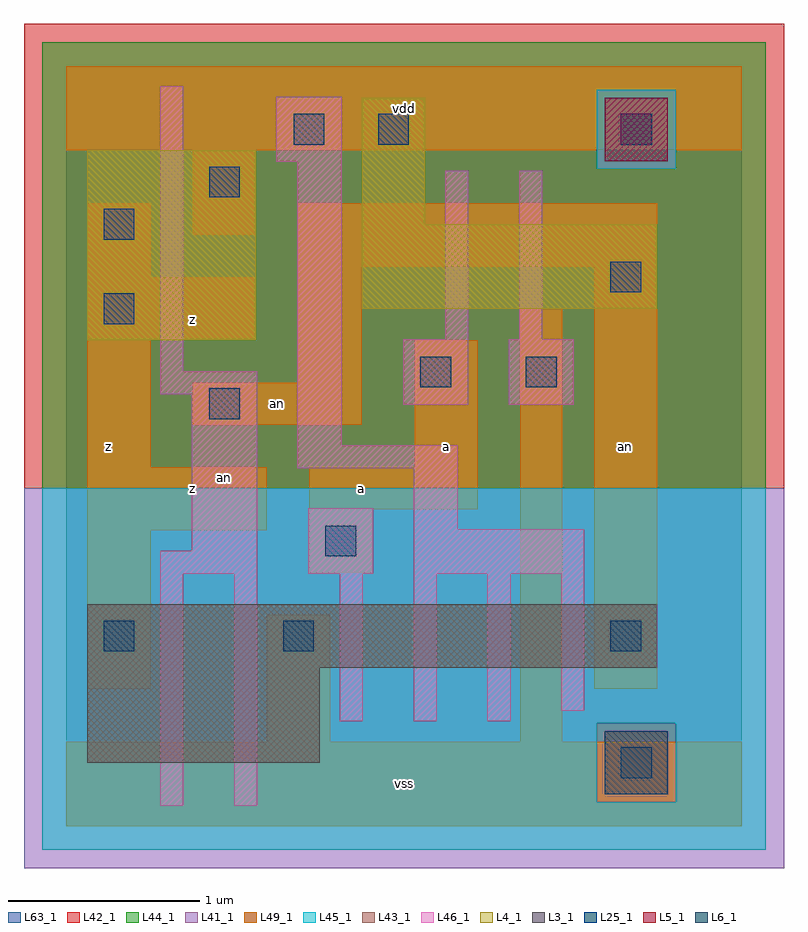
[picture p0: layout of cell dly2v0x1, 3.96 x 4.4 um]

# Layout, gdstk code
import gdstk
lib = gdstk.Library(unit=1e-6, precision=1e-09)
def R(c, l, rs):  # rectangles x0, y0, x1, y1
    for r in rs: c.add(gdstk.rectangle(r[:2], r[2:], *l))
def A(c, l, x, y, w, h, nx, ny, dx, dy):  # array of equal rectangles
    R(c, l, [(x+i*dx, y+j*dy, x+i*dx+w, y+j*dy+h) for i in range(nx) for j in range(ny)])
L3_1 = (3, 1)
L4_1 = (4, 1)
L5_1 = (5, 1)
L6_1 = (6, 1)
L25_1 = (25, 1)
L41_1 = (41, 1)
L42_1 = (42, 1)
L43_1 = (43, 1)
L44_1 = (44, 1)
L45_1 = (45, 1)
L46_1 = (46, 1)
L49_1 = (49, 1)
L63_1 = (63, 1)

dly2v0x1 = lib.new_cell('dly2v0x1')
R(dly2v0x1, L3_1, [(0.11,0.33,1.32,0.825), (0.11,0.825,3.08,1.155)])
R(dly2v0x1, L4_1, [(0.11,2.53,0.99,3.52), (1.54,2.695,3.08,3.135), (1.54,3.135,1.87,3.795)])
R(dly2v0x1, L5_1, [(2.805,3.465,3.135,3.795)])
R(dly2v0x1, L6_1, [(2.805,0.165,3.135,0.495)])
R(dly2v0x1, L25_1, [(2.89,0.25,3.05,0.41), (0.195,0.91,0.355,1.07), (1.13,0.91,1.29,1.07), (2.835,0.91,2.995,1.07), (1.35,1.405,1.51,1.565), (0.745,2.12,0.905,2.28), (1.845,2.285,2.005,2.445), (2.395,2.285,2.555,2.445), (0.195,2.615,0.355,2.775), (2.835,2.78,2.995,2.94), (0.195,3.055,0.355,3.215), (0.745,3.275,0.905,3.435), (1.185,3.55,1.345,3.71), (1.625,3.55,1.785,3.71), (2.89,3.55,3.05,3.71)])
R(dly2v0x1, L41_1, [(-0.22,-0.22,3.74,1.76)])
R(dly2v0x1, L42_1, [(-0.22,1.76,3.74,4.18)])
R(dly2v0x1, L43_1, [(2.805,0.165,3.135,0.495), (0.11,0.33,1.32,0.825), (0.11,0.825,3.08,1.155), (0.11,2.53,0.99,3.52), (1.54,2.695,3.08,3.135), (1.54,3.135,1.87,3.795), (2.805,3.465,3.135,3.795)])
R(dly2v0x1, L44_1, [(2.765,0.125,3.175,0.535), (-0.125,1.76,3.645,3.425), (-0.125,3.425,2.765,3.835), (3.175,3.425,3.645,3.835), (-0.125,3.835,3.645,4.085)])
R(dly2v0x1, L45_1, [(-0.125,-0.125,3.645,0.125), (-0.125,0.125,2.765,0.535), (3.175,0.125,3.645,0.535), (-0.125,0.535,3.645,1.76), (2.765,3.425,3.175,3.835)])
A(dly2v0x1, L46_1, 1.425, 0.545, 0.12, 0.77, 3, 1, 0.385, 0)
R(dly2v0x1, L46_1, [(0.49,0.105,0.61,1.315), (0.875,0.105,0.995,1.315), (2.58,0.6,2.7,1.315), (0.49,1.315,0.995,1.435), (1.26,1.315,1.6,1.655), (1.81,1.315,2.7,1.545), (0.655,1.435,0.995,2.25), (1.81,1.545,2.04,1.865), (1.205,1.865,2.04,1.985), (1.205,1.985,1.435,3.46), (1.755,2.195,2.095,2.535), (2.305,2.195,2.645,2.535), (0.49,2.25,0.995,2.37), (0.49,2.37,0.61,3.855), (1.975,2.535,2.095,3.415), (2.36,2.535,2.48,3.415), (1.095,3.46,1.435,3.8)])
R(dly2v0x1, L49_1, [(0,0,3.52,0.44), (1.045,0.44,1.375,1.1), (2.365,0.44,2.585,2.695), (0.11,0.715,0.44,1.54), (2.75,0.715,3.08,2.915), (1.265,1.32,1.595,1.65), (0.11,1.54,1.045,1.87), (1.265,1.65,2.145,1.87), (0.11,1.87,0.44,2.53), (1.815,1.87,2.145,2.53), (0.66,2.09,1.54,2.31), (1.21,2.31,1.54,2.915), (0.11,2.53,0.99,2.86), (0.11,2.86,0.44,3.245), (1.21,2.915,3.08,3.245), (0.66,3.08,0.99,3.52), (0,3.52,3.52,3.96)])
R(dly2v0x1, L63_1, [(0,0,3.52,3.96)])
dly2v0x1.add(gdstk.Label('an', (0.825,1.815), layer=46, texttype=1))
dly2v0x1.add(gdstk.Label('z', (0.66,1.76), layer=49, texttype=1))
dly2v0x1.add(gdstk.Label('z', (0.22,1.98), layer=49, texttype=1))
dly2v0x1.add(gdstk.Label('z', (0.66,2.64), layer=49, texttype=1))
dly2v0x1.add(gdstk.Label('a', (1.54,1.76), layer=49, texttype=1))
dly2v0x1.add(gdstk.Label('an', (1.1,2.2), layer=49, texttype=1))
dly2v0x1.add(gdstk.Label('vss', (1.76,0.22), layer=49, texttype=1))
dly2v0x1.add(gdstk.Label('a', (1.98,1.98), layer=49, texttype=1))
dly2v0x1.add(gdstk.Label('vdd', (1.76,3.74), layer=49, texttype=1))
dly2v0x1.add(gdstk.Label('an', (2.915,1.98), layer=49, texttype=1))

lib.write_gds('dly2v0x1.gds')
